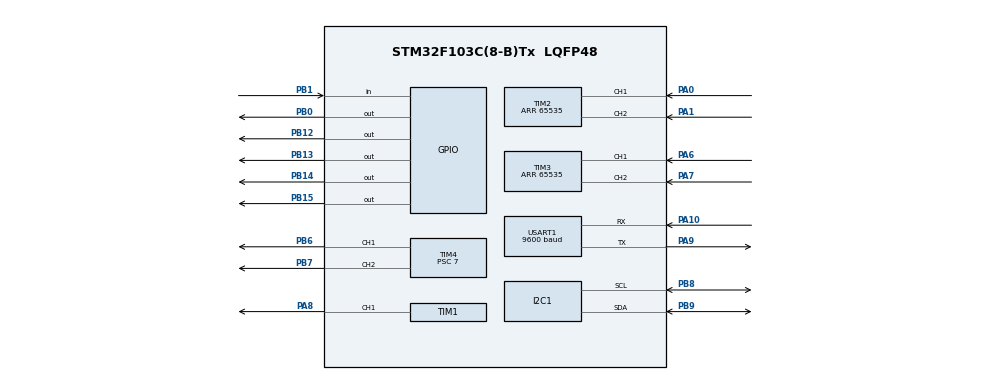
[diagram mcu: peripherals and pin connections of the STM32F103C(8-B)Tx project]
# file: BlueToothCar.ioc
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Mcu.Family=STM32F1
Mcu.Name=STM32F103C(8-B)Tx
Mcu.Package=LQFP48
NVIC.PriorityGroup=NVIC_PRIORITYGROUP_4
NVIC.TIM1_UP_IRQn=true\:0\:0\:false\:false\:true\:true\:true\:true
NVIC.USART1_IRQn=true\:0\:0\:false\:false\:true\:true\:true\:true
PA0-WKUP.Signal=S_TIM2_CH1_ETR
PA1.Signal=S_TIM2_CH2
PA6.Signal=S_TIM3_CH1
PA7.Signal=S_TIM3_CH2
PA8.Signal=S_TIM1_CH1
PA9.Mode=Asynchronous
PA9.Signal=USART1_TX
PA10.Mode=Asynchronous
PA10.Signal=USART1_RX
PA13.Mode=Serial_Wire
PA13.Signal=SYS_JTMS-SWDIO
PA14.Mode=Serial_Wire
PA14.Signal=SYS_JTCK-SWCLK
PB0.Signal=GPIO_Output
PB1.Signal=GPIO_Input
PB6.Signal=S_TIM4_CH1
PB7.Signal=S_TIM4_CH2
PB8.Mode=I2C
PB8.GPIO_PuPd=GPIO_PULLUP
PB8.Signal=I2C1_SCL
PB9.Mode=I2C
PB9.GPIO_PuPd=GPIO_PULLUP
PB9.Signal=I2C1_SDA
PB12.Signal=GPIO_Output
PB13.Signal=GPIO_Output
PB14.Signal=GPIO_Output
PB15.Signal=GPIO_Output
ProjectManager.HeapSize=0x200
ProjectManager.StackSize=0x400
ProjectManager.TargetToolchain=CMake
RCC.APB1Freq_Value=8000000
RCC.APB2Freq_Value=8000000
SH.S_TIM1_CH1.0=TIM1_CH1,PWM Generation1 CH1
SH.S_TIM2_CH1_ETR.0=TIM2_CH1,Encoder_Interface
SH.S_TIM2_CH2.0=TIM2_CH2,Encoder_Interface
SH.S_TIM3_CH1.0=TIM3_CH1,Encoder_Interface
SH.S_TIM3_CH2.0=TIM3_CH2,Encoder_Interface
SH.S_TIM4_CH1.0=TIM4_CH1,PWM Generation1 CH1
SH.S_TIM4_CH2.0=TIM4_CH2,PWM Generation2 CH2
TIM1.AutoReloadPreload=TIM_AUTORELOAD_PRELOAD_ENABLE
TIM1.Channel-PWM\ Generation1\ CH1=TIM_CHANNEL_1
TIM1.Period=19999
TIM1.Prescaler=7
TIM2.AutoReloadPreload=TIM_AUTORELOAD_PRELOAD_ENABLE
TIM2.EncoderMode=TIM_ENCODERMODE_TI12
TIM2.Period=65535
TIM3.AutoReloadPreload=TIM_AUTORELOAD_PRELOAD_ENABLE
TIM3.EncoderMode=TIM_ENCODERMODE_TI12
TIM3.Period=65535
TIM4.AutoReloadPreload=TIM_AUTORELOAD_PRELOAD_ENABLE
TIM4.Channel-PWM\ Generation1\ CH1=TIM_CHANNEL_1
TIM4.Channel-PWM\ Generation2\ CH2=TIM_CHANNEL_2
TIM4.Period=99
TIM4.Prescaler=7
USART1.BaudRate=9600
USART1.VirtualMode=VM_ASYNC
VP_TIM1_VS_ClockSourceINT.Mode=Internal
VP_TIM4_VS_ClockSourceINT.Mode=Internal
board=custom

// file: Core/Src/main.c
/* USER CODE BEGIN Header */
/**
  ******************************************************************************
  * @file           : main.c
  * @brief          : Main program body
  ******************************************************************************
  * @attention
  *
  * Copyright (c) 2026 STMicroelectronics.
  * All rights reserved.
  *
  * This software is licensed under terms that can be found in the LICENSE file
  * in the root directory of this software component.
  * If no LICENSE file comes with this software, it is provided AS-IS.
  *
  ******************************************************************************
  */
/* USER CODE END Header */
#include "main.h"

/* USER CODE BEGIN Includes */
#include <stdio.h>
#include <string.h>

#include "BlueTooth.h"
#include "car.h"
#include "ultrasonic.h"
#include "OLED.h"
#include "PID.h"
#include "servo.h"
#include "Encoder.h"
#include "motor.h"
/* USER CODE END Includes */

I2C_HandleTypeDef hi2c1;

TIM_HandleTypeDef htim1;
TIM_HandleTypeDef htim2;
TIM_HandleTypeDef htim3;
TIM_HandleTypeDef htim4;

UART_HandleTypeDef huart1;

/* USER CODE BEGIN PV */
uint16_t distance = 0;

volatile float Left_speed = 0.0f;
volatile float Right_speed = 0.0f; // revolutions per seconds

int16_t Left_Out = 0;
int16_t Right_Out = 0;

PID_TypeDef Left_Speed_PID = {
  .Kp = 3.0f,
  .Ki = 0.2f,
  .Kd = 0.0f,
  .target = 0.0f,
  .actual = 0.0f,
  .outMax = 99.0f,
  .outMin = 0.0f,
  .integralMax = 999.0f,
  .integralMin = -999.0f,
};

PID_TypeDef Right_Speed_PID = {
  .Kp = 3.0f,
  .Ki = 0.2f,
  .Kd = 0.0f,
  .target = 0.0f,
  .actual = 0.0f,
  .outMax = 99.0f,
  .outMin = 0.0f,
  .integralMax = 999.0f,
  .integralMin = -999.0f,
};

uint16_t left_distance = 0;
uint16_t front_distance = 0;
uint16_t right_distance = 0;
uint8_t decision = 0;

uint32_t oled_timer = 0;
/* USER CODE END PV */

void SystemClock_Config(void);
static void MX_GPIO_Init(void);
static void MX_USART1_UART_Init(void);
static void MX_TIM1_Init(void);
static void MX_TIM2_Init(void);
static void MX_TIM3_Init(void);
static void MX_TIM4_Init(void);
static void MX_I2C1_Init(void);
/* USER CODE BEGIN PFP */
void Ultrasonic_OLED_Test(void);
/* USER CODE END PFP */

/* USER CODE BEGIN 0 */
static float SpeedAbs(float speed)
{
  if (speed < 0)
  {
    return -speed;
  }

  return speed;
}

static uint8_t PIDOutToPWM(float out)
{
  if (out <= 0.0f)
  {
    return 0;
  }

  if (out >= 99.0f)
  {
    return 99;
  }

  return (uint8_t)out;
}

static void SpeedControl_Update(void)
{
  Left_speed = Encoder_GetSpeedRPS(1);
  Right_speed = Encoder_GetSpeedRPS(2);

  if (Left_Speed_PID.target <= 0.0f)
  {
    Left_Speed_PID.target = 0.0f;
    PID_Reset(&Left_Speed_PID);
    Left_Out = 0;
    MotorSetLeftPWM(0);
  }
  else
  {
    Left_Speed_PID.actual = SpeedAbs(Left_speed);
    Left_Out = (int16_t)PID_Calculate(&Left_Speed_PID);
    MotorSetLeftPWM(PIDOutToPWM(Left_Out));
  }

  if (Right_Speed_PID.target <= 0.0f)
  {
    Right_Speed_PID.target = 0.0f;
    PID_Reset(&Right_Speed_PID);
    Right_Out = 0;
    MotorSetRightPWM(0);
  }
  else
  {
    Right_Speed_PID.actual = SpeedAbs(Right_speed);
    Right_Out = (int16_t)PID_Calculate(&Right_Speed_PID);
    MotorSetRightPWM(PIDOutToPWM(Right_Out));
  }
}

/* USER CODE END 0 */

int main(void)
{

  HAL_Init();

  SystemClock_Config();

  MX_GPIO_Init();
  MX_USART1_UART_Init();
  MX_TIM1_Init();
  MX_TIM2_Init();
  MX_TIM3_Init();
  MX_TIM4_Init();
  MX_I2C1_Init();

  /* USER CODE BEGIN 2 */
  BlueTooth_Init();

  HAL_TIM_PWM_Start(&htim4, TIM_CHANNEL_1);
  HAL_TIM_PWM_Start(&htim4, TIM_CHANNEL_2);

  Encoder_Init();

  Servo_Init();
  HAL_TIM_Base_Start_IT(&htim1);

  OLED_Init();

  /* USER CODE END 2 */

  /* Infinite loop */
  /* USER CODE BEGIN WHILE */
  while (1)
  {
    distance=Get_distance();

    if (BlueTooth_GetFlag()==1)
    {
      Flag_Clear();
      Car_BlueTooth_Cmd(Receive_Data);
    }
    Car_Process();
    if ((uint32_t)(HAL_GetTick() - oled_timer) >= 100)
    {
      oled_timer = HAL_GetTick();
      OLED_ShowCarState(distance, BlueTooth_GetData());
    }

    /* USER CODE END WHILE */

  }
}

void SystemClock_Config(void)
{
  RCC_OscInitTypeDef RCC_OscInitStruct = {0};
  RCC_ClkInitTypeDef RCC_ClkInitStruct = {0};

  RCC_OscInitStruct.OscillatorType = RCC_OSCILLATORTYPE_HSI;
  RCC_OscInitStruct.HSIState = RCC_HSI_ON;
  RCC_OscInitStruct.HSICalibrationValue = RCC_HSICALIBRATION_DEFAULT;
  RCC_OscInitStruct.PLL.PLLState = RCC_PLL_NONE;
  if (HAL_RCC_OscConfig(&RCC_OscInitStruct) != HAL_OK)
  {
    Error_Handler();
  }

  RCC_ClkInitStruct.ClockType = RCC_CLOCKTYPE_HCLK|RCC_CLOCKTYPE_SYSCLK
                              |RCC_CLOCKTYPE_PCLK1|RCC_CLOCKTYPE_PCLK2;
  RCC_ClkInitStruct.SYSCLKSource = RCC_SYSCLKSOURCE_HSI;
  RCC_ClkInitStruct.AHBCLKDivider = RCC_SYSCLK_DIV1;
  RCC_ClkInitStruct.APB1CLKDivider = RCC_HCLK_DIV1;
  RCC_ClkInitStruct.APB2CLKDivider = RCC_HCLK_DIV1;

  if (HAL_RCC_ClockConfig(&RCC_ClkInitStruct, FLASH_LATENCY_0) != HAL_OK)
  {
    Error_Handler();
  }
}

static void MX_I2C1_Init(void)
{

  hi2c1.Instance = I2C1;
  hi2c1.Init.ClockSpeed = 100000;
  hi2c1.Init.DutyCycle = I2C_DUTYCYCLE_2;
  hi2c1.Init.OwnAddress1 = 0;
  hi2c1.Init.AddressingMode = I2C_ADDRESSINGMODE_7BIT;
  hi2c1.Init.DualAddressMode = I2C_DUALADDRESS_DISABLE;
  hi2c1.Init.OwnAddress2 = 0;
  hi2c1.Init.GeneralCallMode = I2C_GENERALCALL_DISABLE;
  hi2c1.Init.NoStretchMode = I2C_NOSTRETCH_DISABLE;
  if (HAL_I2C_Init(&hi2c1) != HAL_OK)
  {
    Error_Handler();
  }
}

static void MX_TIM1_Init(void)
{

  TIM_ClockConfigTypeDef sClockSourceConfig = {0};
  TIM_MasterConfigTypeDef sMasterConfig = {0};
  TIM_OC_InitTypeDef sConfigOC = {0};
  TIM_BreakDeadTimeConfigTypeDef sBreakDeadTimeConfig = {0};

  htim1.Instance = TIM1;
  htim1.Init.Prescaler = 7;
  htim1.Init.CounterMode = TIM_COUNTERMODE_UP;
  htim1.Init.Period = 19999;
  htim1.Init.ClockDivision = TIM_CLOCKDIVISION_DIV1;
  htim1.Init.RepetitionCounter = 0;
  htim1.Init.AutoReloadPreload = TIM_AUTORELOAD_PRELOAD_ENABLE;
  if (HAL_TIM_Base_Init(&htim1) != HAL_OK)
  {
    Error_Handler();
  }
  sClockSourceConfig.ClockSource = TIM_CLOCKSOURCE_INTERNAL;
  if (HAL_TIM_ConfigClockSource(&htim1, &sClockSourceConfig) != HAL_OK)
  {
    Error_Handler();
  }
  if (HAL_TIM_PWM_Init(&htim1) != HAL_OK)
  {
    Error_Handler();
  }
  sMasterConfig.MasterOutputTrigger = TIM_TRGO_RESET;
  sMasterConfig.MasterSlaveMode = TIM_MASTERSLAVEMODE_DISABLE;
  if (HAL_TIMEx_MasterConfigSynchronization(&htim1, &sMasterConfig) != HAL_OK)
  {
    Error_Handler();
  }
  sConfigOC.OCMode = TIM_OCMODE_PWM1;
  sConfigOC.Pulse = 1500;
  sConfigOC.OCPolarity = TIM_OCPOLARITY_HIGH;
  sConfigOC.OCNPolarity = TIM_OCNPOLARITY_HIGH;
  sConfigOC.OCFastMode = TIM_OCFAST_DISABLE;
  sConfigOC.OCIdleState = TIM_OCIDLESTATE_RESET;
  sConfigOC.OCNIdleState = TIM_OCNIDLESTATE_RESET;
  if (HAL_TIM_PWM_ConfigChannel(&htim1, &sConfigOC, TIM_CHANNEL_1) != HAL_OK)
  {
    Error_Handler();
  }
  sBreakDeadTimeConfig.OffStateRunMode = TIM_OSSR_DISABLE;
  sBreakDeadTimeConfig.OffStateIDLEMode = TIM_OSSI_DISABLE;
  sBreakDeadTimeConfig.LockLevel = TIM_LOCKLEVEL_OFF;
  sBreakDeadTimeConfig.DeadTime = 0;
  sBreakDeadTimeConfig.BreakState = TIM_BREAK_DISABLE;
  sBreakDeadTimeConfig.BreakPolarity = TIM_BREAKPOLARITY_HIGH;
  sBreakDeadTimeConfig.AutomaticOutput = TIM_AUTOMATICOUTPUT_DISABLE;
  if (HAL_TIMEx_ConfigBreakDeadTime(&htim1, &sBreakDeadTimeConfig) != HAL_OK)
  {
    Error_Handler();
  }
  HAL_TIM_MspPostInit(&htim1);
}

static void MX_TIM2_Init(void)
{

  TIM_Encoder_InitTypeDef sConfig = {0};
  TIM_MasterConfigTypeDef sMasterConfig = {0};

  htim2.Instance = TIM2;
  htim2.Init.Prescaler = 0;
  htim2.Init.CounterMode = TIM_COUNTERMODE_UP;
  htim2.Init.Period = 65535;
  htim2.Init.ClockDivision = TIM_CLOCKDIVISION_DIV1;
  htim2.Init.AutoReloadPreload = TIM_AUTORELOAD_PRELOAD_ENABLE;
  sConfig.EncoderMode = TIM_ENCODERMODE_TI12;
  sConfig.IC1Polarity = TIM_ICPOLARITY_RISING;
  sConfig.IC1Selection = TIM_ICSELECTION_DIRECTTI;
  sConfig.IC1Prescaler = TIM_ICPSC_DIV1;
  sConfig.IC1Filter = 0;
  sConfig.IC2Polarity = TIM_ICPOLARITY_RISING;
  sConfig.IC2Selection = TIM_ICSELECTION_DIRECTTI;
  sConfig.IC2Prescaler = TIM_ICPSC_DIV1;
  sConfig.IC2Filter = 0;
  if (HAL_TIM_Encoder_Init(&htim2, &sConfig) != HAL_OK)
  {
    Error_Handler();
  }
  sMasterConfig.MasterOutputTrigger = TIM_TRGO_RESET;
  sMasterConfig.MasterSlaveMode = TIM_MASTERSLAVEMODE_DISABLE;
  if (HAL_TIMEx_MasterConfigSynchronization(&htim2, &sMasterConfig) != HAL_OK)
  {
    Error_Handler();
  }
}

static void MX_TIM3_Init(void)
{

  TIM_Encoder_InitTypeDef sConfig = {0};
  TIM_MasterConfigTypeDef sMasterConfig = {0};

  htim3.Instance = TIM3;
  htim3.Init.Prescaler = 0;
  htim3.Init.CounterMode = TIM_COUNTERMODE_UP;
  htim3.Init.Period = 65535;
  htim3.Init.ClockDivision = TIM_CLOCKDIVISION_DIV1;
  htim3.Init.AutoReloadPreload = TIM_AUTORELOAD_PRELOAD_ENABLE;
  sConfig.EncoderMode = TIM_ENCODERMODE_TI12;
  sConfig.IC1Polarity = TIM_ICPOLARITY_RISING;
  sConfig.IC1Selection = TIM_ICSELECTION_DIRECTTI;
  sConfig.IC1Prescaler = TIM_ICPSC_DIV1;
  sConfig.IC1Filter = 0;
  sConfig.IC2Polarity = TIM_ICPOLARITY_RISING;
  sConfig.IC2Selection = TIM_ICSELECTION_DIRECTTI;
  sConfig.IC2Prescaler = TIM_ICPSC_DIV1;
  sConfig.IC2Filter = 0;
  if (HAL_TIM_Encoder_Init(&htim3, &sConfig) != HAL_OK)
  {
    Error_Handler();
  }
  sMasterConfig.MasterOutputTrigger = TIM_TRGO_RESET;
  sMasterConfig.MasterSlaveMode = TIM_MASTERSLAVEMODE_DISABLE;
  if (HAL_TIMEx_MasterConfigSynchronization(&htim3, &sMasterConfig) != HAL_OK)
  {
    Error_Handler();
  }
}

static void MX_TIM4_Init(void)
{

  TIM_ClockConfigTypeDef sClockSourceConfig = {0};
  TIM_MasterConfigTypeDef sMasterConfig = {0};
  TIM_OC_InitTypeDef sConfigOC = {0};

  htim4.Instance = TIM4;
  htim4.Init.Prescaler = 7;
  htim4.Init.CounterMode = TIM_COUNTERMODE_UP;
  htim4.Init.Period = 99;
  htim4.Init.ClockDivision = TIM_CLOCKDIVISION_DIV1;
  htim4.Init.AutoReloadPreload = TIM_AUTORELOAD_PRELOAD_ENABLE;
  if (HAL_TIM_Base_Init(&htim4) != HAL_OK)
  {
    Error_Handler();
  }
  sClockSourceConfig.ClockSource = TIM_CLOCKSOURCE_INTERNAL;
  if (HAL_TIM_ConfigClockSource(&htim4, &sClockSourceConfig) != HAL_OK)
  {
    Error_Handler();
  }
  if (HAL_TIM_PWM_Init(&htim4) != HAL_OK)
  {
    Error_Handler();
  }
  sMasterConfig.MasterOutputTrigger = TIM_TRGO_RESET;
  sMasterConfig.MasterSlaveMode = TIM_MASTERSLAVEMODE_DISABLE;
  if (HAL_TIMEx_MasterConfigSynchronization(&htim4, &sMasterConfig) != HAL_OK)
  {
    Error_Handler();
  }
  sConfigOC.OCMode = TIM_OCMODE_PWM1;
  sConfigOC.Pulse = 0;
  sConfigOC.OCPolarity = TIM_OCPOLARITY_HIGH;
  sConfigOC.OCFastMode = TIM_OCFAST_DISABLE;
  if (HAL_TIM_PWM_ConfigChannel(&htim4, &sConfigOC, TIM_CHANNEL_1) != HAL_OK)
  {
    Error_Handler();
  }
  if (HAL_TIM_PWM_ConfigChannel(&htim4, &sConfigOC, TIM_CHANNEL_2) != HAL_OK)
  {
    Error_Handler();
  }
  HAL_TIM_MspPostInit(&htim4);
}

static void MX_USART1_UART_Init(void)
{

  huart1.Instance = USART1;
  huart1.Init.BaudRate = 9600;
  huart1.Init.WordLength = UART_WORDLENGTH_8B;
  huart1.Init.StopBits = UART_STOPBITS_1;
  huart1.Init.Parity = UART_PARITY_NONE;
  huart1.Init.Mode = UART_MODE_TX_RX;
  huart1.Init.HwFlowCtl = UART_HWCONTROL_NONE;
  huart1.Init.OverSampling = UART_OVERSAMPLING_16;
  if (HAL_UART_Init(&huart1) != HAL_OK)
  {
    Error_Handler();
  }
}

static void MX_GPIO_Init(void)
{
  GPIO_InitTypeDef GPIO_InitStruct = {0};

  __HAL_RCC_GPIOA_CLK_ENABLE();
  __HAL_RCC_GPIOB_CLK_ENABLE();

  HAL_GPIO_WritePin(GPIOB, GPIO_PIN_0|GPIO_PIN_12|GPIO_PIN_13|GPIO_PIN_14|GPIO_PIN_15, GPIO_PIN_RESET);

  GPIO_InitStruct.Pin = GPIO_PIN_0|GPIO_PIN_12|GPIO_PIN_13|GPIO_PIN_14|GPIO_PIN_15;
  GPIO_InitStruct.Mode = GPIO_MODE_OUTPUT_PP;
  GPIO_InitStruct.Pull = GPIO_NOPULL;
  GPIO_InitStruct.Speed = GPIO_SPEED_FREQ_LOW;
  HAL_GPIO_Init(GPIOB, &GPIO_InitStruct);

  GPIO_InitStruct.Pin = GPIO_PIN_1;
  GPIO_InitStruct.Mode = GPIO_MODE_INPUT;
  GPIO_InitStruct.Pull = GPIO_NOPULL;
  HAL_GPIO_Init(GPIOB, &GPIO_InitStruct);

}

/* USER CODE BEGIN 4 */
void HAL_TIM_PeriodElapsedCallback(TIM_HandleTypeDef *htim)
{
  if (htim->Instance == TIM1)
  {
    SpeedControl_Update();
  }
}
/* USER CODE END 4 */

void Error_Handler(void)
{
  __disable_irq();
  while (1)
  {
  }
}
